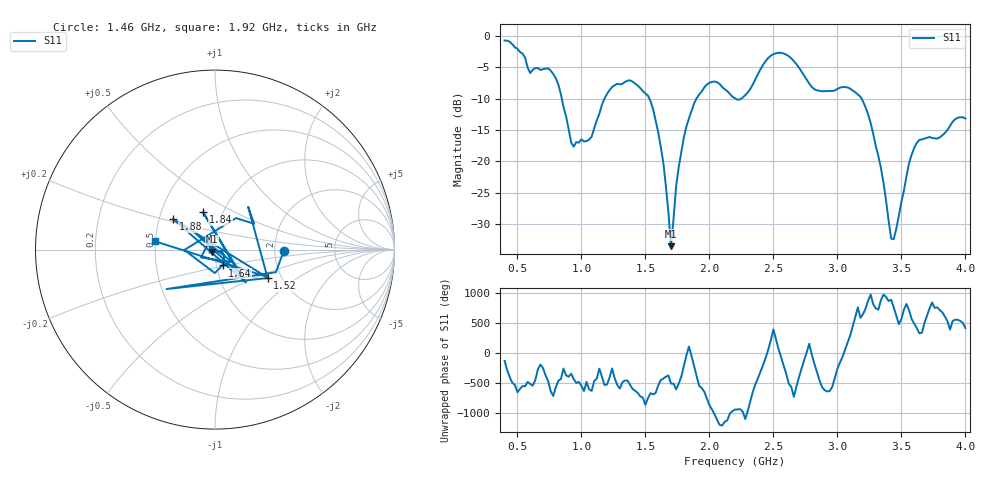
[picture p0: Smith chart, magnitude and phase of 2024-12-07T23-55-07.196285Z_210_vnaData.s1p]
!Created with skrf (http://scikit-rf.org).
# Hz S RI R 50.0
!freq ReS11 ImS11
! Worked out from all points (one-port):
!   181 points, 400 MHz to 4 GHz, reference 50 ohm
!   lowest |S11| = -33.5 dB at 1.7 GHz (marker M1), VSWR 1.04, Z = 48.2 - j1.1 ohm
!   |S11| at or under -10 dB: 846.6 MHz to 1.18 GHz (333.5 MHz wide, 32.9 % of centre); 1.53 GHz to 1.899 GHz (368.5 MHz wide, 21.5 % of centre); 3.188 GHz to end of sweep (the widest 3 of 4)
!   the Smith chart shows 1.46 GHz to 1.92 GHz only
!   S11 on the Smith chart (normalised r, x): 1.46 GHz: 2.24, -0.04; 1.52 GHz: 1.69, -0.60; 1.64 GHz: 1.07, -0.19; 1.84 GHz: 0.81, +0.35; 1.88 GHz: 0.59, +0.22; 1.92 GHz: 0.49, +0.05
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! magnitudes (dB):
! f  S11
! 400 MHz  -0.8
! 600 MHz  -5.9
! 760 MHz  -5.6
! 860 MHz  -11.3
! 940 MHz  -17.6
! 1.08 GHz  -16.1
! 1.18 GHz  -10.0
! 1.3 GHz  -7.7
! 1.46 GHz  -8.3
! 1.52 GHz  -9.5
! 1.64 GHz  -20.2
! 1.7 GHz  -33.5
! 1.76 GHz  -21.0
! 1.84 GHz  -13.2
! 1.88 GHz  -10.8
! 1.92 GHz  -9.4
! 2.04 GHz  -7.3
! 2.2 GHz  -10.0
! 2.48 GHz  -3.2
! 2.66 GHz  -4.0
! 2.82 GHz  -8.5
! 3.1 GHz  -8.4
! 3.26 GHz  -13.9
! 3.34 GHz  -21.0
! 3.42 GHz  -32.3
! 3.56 GHz  -20.3
! 3.64 GHz  -16.6
! 4 GHz  -13.2
